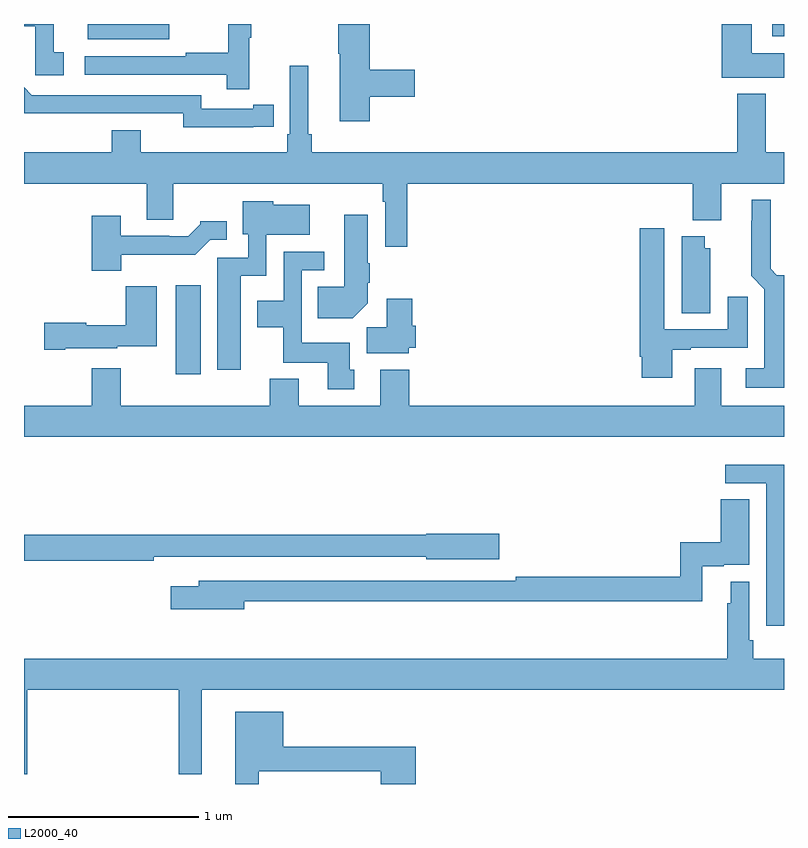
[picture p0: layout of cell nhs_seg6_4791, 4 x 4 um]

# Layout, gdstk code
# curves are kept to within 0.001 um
import gdstk
lib = gdstk.Library(unit=1e-6, precision=1e-09)
def R(c, l, rs):  # rectangles x0, y0, x1, y1
    for r in rs: c.add(gdstk.rectangle(r[:2], r[2:], *l))
def P(c, l, *ps):  # polygons
    for p in ps: c.add(gdstk.Polygon(p, *l))
L2000_40 = (2000, 40)

nhs_seg6_4791 = lib.new_cell('nhs_seg6_4791')
R(nhs_seg6_4791, L2000_40, [(395.798,955.656,395.929,956.125), (395.336,957.419,395.764,957.5), (398.937,957.435,399,957.5)])
P(nhs_seg6_4791, L2000_40, [(399,957.346),(398.83,957.346),(398.83,957.5),(398.672,957.5),(398.672,957.218),(399,957.218)],
  [(395.209,957.351),(395.156,957.351),(395.156,957.5),(395,957.5),(395,957.489),(395.058,957.489),(395.058,957.231),(395.209,957.231)],
  [(396.821,957.118),(397.057,957.118),(397.057,957.26),(396.821,957.26),(396.821,957.5),(396.655,957.5),(396.655,957.343),(396.662,957.343),(396.662,956.988),(396.821,956.988)],
  [(396.185,957.427),(396.196,957.427),(396.196,957.5),(396.075,957.5),(396.075,957.35),(395.851,957.35),(395.851,957.33),(395.319,957.33),(395.319,957.234),(396.067,957.234),(396.067,957.156),(396.185,957.156)],
  [(397.016,956.66),(398.519,956.66),(398.519,956.468),(398.671,956.468),(398.671,956.66),(399,956.66),(399,956.824),(398.905,956.824),(398.905,957.133),(398.753,957.133),(398.753,956.824),(396.515,956.824),(396.515,956.92),(396.496,956.92),(396.496,957.28),(396.399,957.28),(396.399,956.92),(396.386,956.92),(396.386,956.824),(395.614,956.824),(395.614,956.941),(395.462,956.941),(395.462,956.824),(395,956.824),(395,956.66),(395.645,956.66),(395.645,956.47),(395.785,956.47),(395.785,956.66),(396.888,956.66),(396.888,956.564),(396.9,956.564),(396.9,956.328),(397.016,956.328)],
  [(396.206,956.958),(396.314,956.958),(396.314,957.074),(396.206,957.074),(396.206,957.054),(395.934,957.054),(395.934,957.126),(395.04,957.126),(395,957.166),(395,957.029),(395.838,957.03),(395.838,956.957)],
  [(399,956.178),(398.962,956.178),(398.929,956.212),(398.929,956.575),(398.831,956.575),(398.831,956.465),(398.827,956.465),(398.827,956.174),(398.897,956.104),(398.897,955.687),(398.799,955.687),(398.799,955.586),(399,955.586)],
  [(396.142,956.174),(396.276,956.174),(396.276,956.39),(396.505,956.39),(396.505,956.548),(396.312,956.548),(396.312,956.566),(396.152,956.566),(396.152,956.394),(396.18,956.394),(396.18,956.271),(396.017,956.271),(396.017,955.68),(396.142,955.68)],
  [(396.808,956.03),(396.808,956.137),(396.821,956.137),(396.821,956.24),(396.808,956.24),(396.808,956.497),(396.686,956.497),(396.686,956.116),(396.547,956.116),(396.547,955.952),(396.73,955.952)],
  [(395.512,956.286),(395.901,956.286),(395.979,956.364),(396.067,956.364),(396.067,956.461),(395.928,956.461),(395.928,956.446),(395.864,956.382),(395.765,956.382),(395.765,956.385),(395.509,956.385),(395.509,956.491),(395.357,956.491),(395.357,956.201),(395.512,956.201)],
  [(398.413,955.785),(398.509,955.785),(398.509,955.797),(398.809,955.797),(398.809,956.065),(398.705,956.065),(398.705,955.893),(398.371,955.893),(398.371,956.425),(398.24,956.425),(398.24,955.75),(398.252,955.75),(398.252,955.638),(398.413,955.638)],
  [(398.611,956.319),(398.584,956.319),(398.584,956.383),(398.462,956.383),(398.462,955.978),(398.611,955.978)],
  [(396.739,955.68),(396.715,955.68),(396.715,955.822),(396.462,955.822),(396.462,956.205),(396.58,956.205),(396.58,956.301),(396.366,956.301),(396.366,956.044),(396.227,956.044),(396.227,955.904),(396.364,955.904),(396.364,955.718),(396.599,955.718),(396.599,955.578),(396.739,955.578)],
  [(395.218,955.793),(395.49,955.793),(395.49,955.805),(395.698,955.805),(395.698,956.119),(395.536,956.119),(395.536,955.915),(395.328,955.915),(395.328,955.928),(395.106,955.928),(395.106,955.786),(395.218,955.786)],
  [(397.026,955.797),(397.061,955.797),(397.061,955.911),(397.043,955.911),(397.043,956.053),(396.908,956.053),(396.908,955.904),(396.803,955.904),(396.803,955.766),(397.026,955.766)],
  [(399,955.492),(398.671,955.492),(398.671,955.687),(398.531,955.687),(398.531,955.492),(397.028,955.492),(397.028,955.681),(396.875,955.681),(396.875,955.492),(396.445,955.492),(396.445,955.633),(396.293,955.633),(396.293,955.492),(395.509,955.492),(395.509,955.687),(395.357,955.687),(395.357,955.492),(395,955.492),(395,955.328),(399,955.328)],
  [(399,955.18),(398.691,955.18),(398.691,955.083),(398.906,955.083),(398.906,954.332),(399,954.332)],
  [(396.16,954.462),(398.571,954.462),(398.571,954.645),(398.682,954.645),(398.682,954.653),(398.818,954.653),(398.818,954.998),(398.666,954.998),(398.666,954.773),(398.455,954.773),(398.455,954.59),(397.588,954.59),(397.588,954.57),(395.921,954.57),(395.921,954.541),(395.772,954.541),(395.772,954.419),(396.16,954.419)],
  [(395.684,954.696),(397.116,954.696),(397.116,954.683),(397.501,954.683),(397.501,954.818),(397.116,954.818),(397.116,954.812),(395,954.812),(395,954.676),(395.684,954.676)],
  [(395.017,953.996),(395.814,953.996),(395.814,953.552),(395.935,953.552),(395.935,953.996),(399,953.996),(399,954.16),(398.837,954.16),(398.837,954.256),(398.817,954.256),(398.817,954.565),(398.72,954.565),(398.72,954.452),(398.701,954.452),(398.701,954.16),(395,954.16),(395,953.552),(395.017,953.552)],
  [(396.235,953.566),(396.878,953.566),(396.878,953.5),(397.061,953.5),(397.061,953.695),(396.364,953.695),(396.364,953.881),(396.113,953.881),(396.113,953.5),(396.235,953.5)])

lib.write_gds('nhs_seg6_4791.gds')
